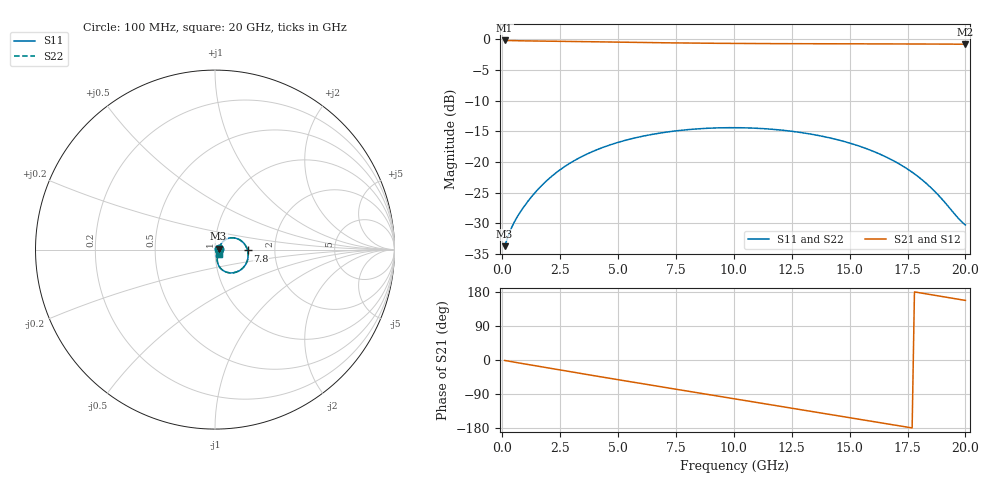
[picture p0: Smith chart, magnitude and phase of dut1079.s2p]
! Touchstone file exported from HFSS 2026.1.0
!  File:  C:/ffzhzh/LocalFiles/Ansys_Project_Files/temp_train_TSV_RDL_1079_1783300321_30076.aedt
!  Generated:  09:21:30 AM Jul  6, 2026
!  Design:  TSV_RDL
!  Project:  temp_train_TSV_RDL_1079_1783300321_30076
! Variables:
!  h_bsmrdl = 3.3um
!  h_ox = 20um
!  h_rdl = 5um
!  h_sub = 86.95um
!  h_tmrdl = 4.69um
!  h_tsv = 86.95um
!  h_via = 3um
!  l_bsmrdl = 413.08um
!  l_sub = 3219.72um
!  l_tmrdl = 371.12um
!  m_sub = 200um
!  pitch = 23.16um
!  r_tsv = 4.86um
!  s_tmrdl = 10um
!  w_bsmrdl = 12.64um
!  w_sub = 500um
!  w_tmrdl = 19.36um
!  x_tsv_center1 = 380.8um
!  x_tsv_center2 = 806.52um
!  x_tsv_center3 = 1197um
!  x_tsv_center4 = 1622.72um
!  x_tsv_center5 = 2013.2um
!  x_tsv_center6 = 2438.92um
# GHz S MA R 50.000000
! Terminal data exported
! Port[1] = TM_RDL1_1_T1
! Port[2] = TM_RDL5_1_T1
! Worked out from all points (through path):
!   200 points, 100 MHz to 20 GHz, reference 50 ohm
!   highest |S21| = -0.17 dB at 100 MHz (marker M1); lowest = -0.8 dB at 20 GHz (marker M2)
!   group delay of S21, straight-line fit = 27.9 ps
!   lowest |S11| = -33.7 dB at 100 MHz (marker M3), VSWR 1.04, Z = 52 + j0.497 ohm
!   |S11| at or under -10 dB: start of sweep to end of sweep
!   |S22| runs from -33.7 to -14.4 dB; largest |S21 - S12| = 1.7e-14
!   S11 on the Smith chart (normalised r, x): 100 MHz: 1.04, +0.01; 7.8 GHz: 1.44, -0.01; 20 GHz: 1.04, -0.05
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0.1  0.02054 13.4  0.9801 -1.2  0.9801 -1.2  0.02054 13.4
! Gamma 0 0 0 0
! Port Impedance 50 0 50 0
0.4  0.02906 32.3  0.9765 -4.5  0.9765 -4.5  0.02906 32.3
0.6  0.03445 37.1  0.9748 -6.6  0.9748 -6.6  0.03445 37.1
1  0.04489 42.7  0.9725 -10.7  0.9725 -10.7  0.04489 42.7
1.4  0.05579 45.0  0.9707 -14.9  0.9707 -14.9  0.05579 45.0
1.9  0.0698 45.0  0.9683 -20.1  0.9683 -20.1  0.0698 45.0
2.4  0.0837 43.1  0.9656 -25.3  0.9656 -25.3  0.0837 43.1
3.5  0.1122 35.8  0.9588 -36.7  0.9588 -36.7  0.1122 35.8
5.2  0.1481 21.6  0.948 -54.0  0.948 -54.0  0.1481 21.6
6.8  0.1719 7.5  0.9391 -70.1  0.9391 -70.1  0.1719 7.5
7.8  0.1818 -1.4  0.9344 -80.1  0.9344 -80.1  0.1818 -1.4
8.9  0.1884 -11.1  0.9302 -91.0  0.9302 -91.0  0.1884 -11.1
10.1  0.1903 -21.6  0.9266 -103.0  0.9266 -103.0  0.1903 -21.6
11.7  0.1845 -35.4  0.9233 -118.9  0.9233 -118.9  0.1845 -35.4
13.4  0.1677 -49.7  0.9213 -135.9  0.9213 -135.9  0.1677 -49.7
15.1  0.1407 -63.1  0.92 -152.9  0.92 -152.9  0.1407 -63.1
16.7  0.1069 -73.9  0.9188 -169.1  0.9188 -169.1  0.1069 -73.9
17.5  0.08747 -77.6  0.918 -177.3  0.918 -177.3  0.08747 -77.6
18.3  0.06711 -78.7  0.9169 174.6  0.9169 174.6  0.06711 -78.7
19.1  0.04708 -73.6  0.9154 166.4  0.9154 166.4  0.04708 -73.6
19.7  0.03459 -59.9  0.9141 160.3  0.9141 160.3  0.03459 -59.9
20  0.03061 -47.6  0.9133 157.2  0.9133 157.2  0.03061 -47.6
